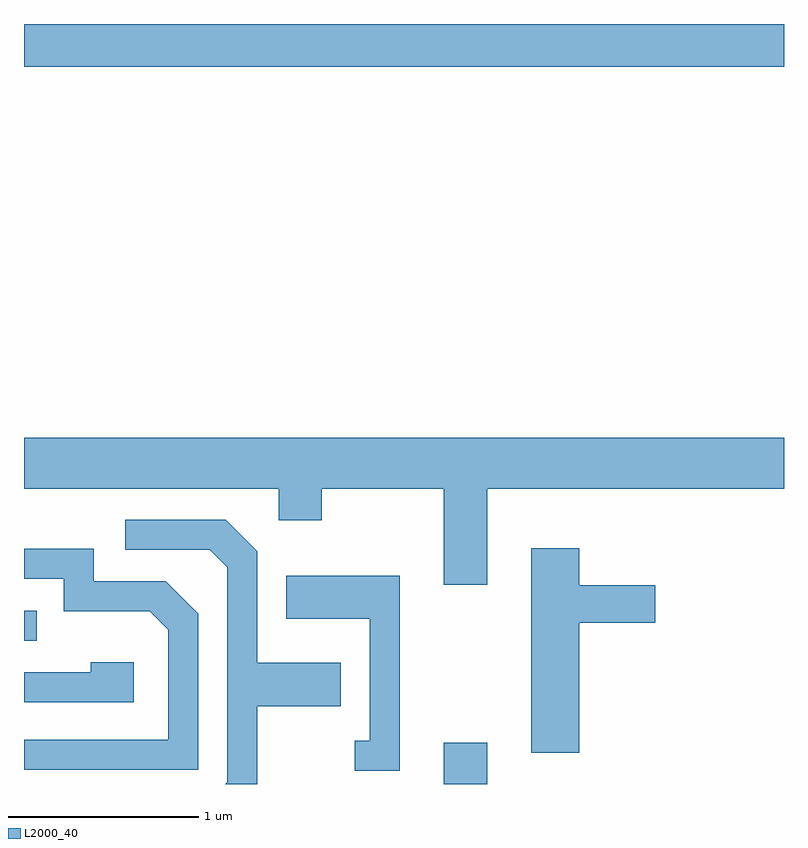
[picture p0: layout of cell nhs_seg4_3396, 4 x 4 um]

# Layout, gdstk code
import gdstk
lib = gdstk.Library(unit=1e-6, precision=1e-09)
def R(c, l, rs):  # rectangles x0, y0, x1, y1
    for r in rs: c.add(gdstk.rectangle(r[:2], r[2:], *l))
def P(c, l, *ps):  # polygons
    for p in ps: c.add(gdstk.Polygon(p, *l))
L2000_40 = (2000, 40)

nhs_seg4_3396 = lib.new_cell('nhs_seg4_3396')
R(nhs_seg4_3396, L2000_40, [(285.821,1381.982,286.049,1382.199), (283.611,1382.736,283.678,1382.894), (283.611,1385.756,287.611,1385.982)])
P(nhs_seg4_3396, L2000_40, [(286.049,1383.536),(287.611,1383.536),(287.611,1383.804),(283.611,1383.804),(283.611,1383.536),(284.951,1383.536),(284.951,1383.371),(285.179,1383.371),(285.179,1383.536),(285.821,1383.536),(285.821,1383.031),(286.049,1383.031)],
  [(284.839,1382.391),(285.279,1382.391),(285.279,1382.619),(284.839,1382.619),(284.839,1383.207),(284.672,1383.374),(284.143,1383.374),(284.143,1383.216),(284.589,1383.216),(284.681,1383.124),(284.681,1381.992),(284.671,1381.982),(284.839,1381.982)],
  [(286.534,1382.831),(286.934,1382.831),(286.934,1383.029),(286.534,1383.029),(286.534,1383.224),(286.281,1383.224),(286.281,1382.146),(286.534,1382.146)],
  [(284.529,1382.877),(284.357,1383.049),(283.979,1383.049),(283.979,1383.219),(283.611,1383.219),(283.611,1383.061),(283.821,1383.061),(283.821,1382.891),(284.274,1382.891),(284.371,1382.794),(284.371,1382.214),(283.611,1382.214),(283.611,1382.056),(284.529,1382.056)],
  [(285.589,1383.079),(284.991,1383.079),(284.991,1382.851),(285.431,1382.851),(285.431,1382.209),(285.353,1382.209),(285.353,1382.051),(285.589,1382.051)],
  [(284.189,1382.624),(283.961,1382.624),(283.961,1382.569),(283.611,1382.569),(283.611,1382.411),(284.189,1382.411)])

lib.write_gds('nhs_seg4_3396.gds')
